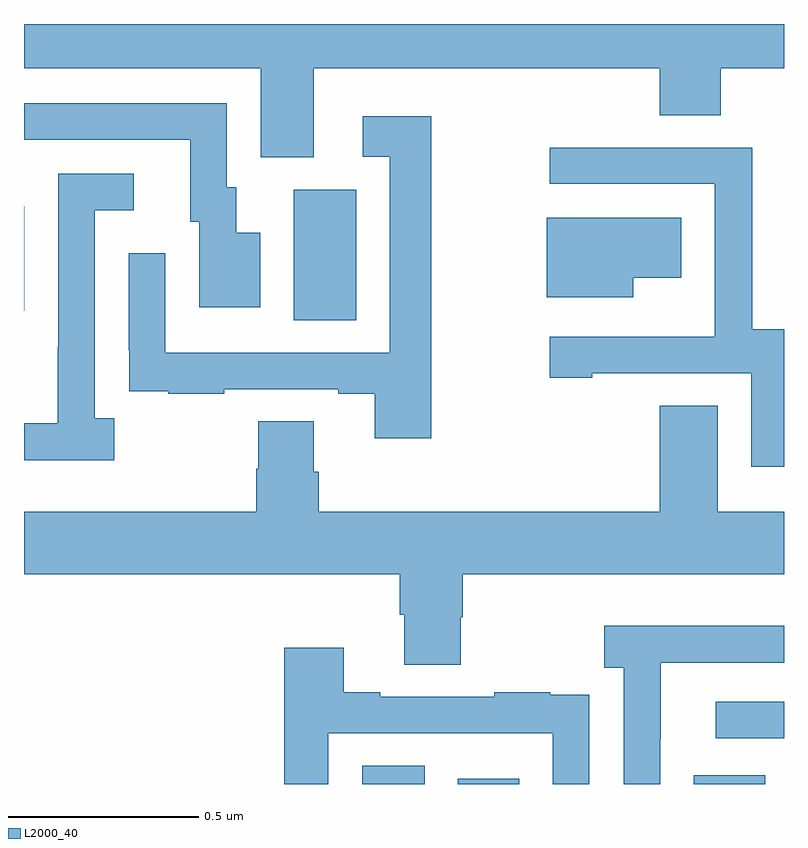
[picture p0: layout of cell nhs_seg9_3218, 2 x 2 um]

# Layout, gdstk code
import gdstk
lib = gdstk.Library(unit=1e-6, precision=1e-09)
def R(c, l, rs):  # rectangles x0, y0, x1, y1
    for r in rs: c.add(gdstk.rectangle(r[:2], r[2:], *l))
def P(c, l, *ps):  # polygons
    for p in ps: c.add(gdstk.Polygon(p, *l))
L2000_40 = (2000, 40)

nhs_seg9_3218 = lib.new_cell('nhs_seg9_3218')
R(nhs_seg9_3218, L2000_40, [(150.89,1230.5,151.054,1230.548), (151.142,1230.5,151.303,1230.514), (151.763,1230.5,151.951,1230.523), (151.821,1230.621,152,1230.717), (150.71,1231.72,150.874,1232.064), (150,1231.745,150.001,1232.02)])
P(nhs_seg9_3218, L2000_40, [(150.763,1232.384),(151.673,1232.384),(151.673,1232.26),(151.833,1232.26),(151.833,1232.384),(152,1232.384),(152,1232.5),(150,1232.5),(150,1232.384),(150.623,1232.384),(150.623,1232.149),(150.763,1232.149)],
  [(150.622,1231.951),(150.559,1231.951),(150.559,1232.07),(150.534,1232.07),(150.534,1232.292),(150,1232.292),(150,1232.196),(150.437,1232.196),(150.437,1231.98),(150.461,1231.98),(150.461,1231.755),(150.622,1231.755)],
  [(151.072,1232.257),(150.891,1232.257),(150.891,1232.151),(150.963,1232.151),(150.963,1231.635),(150.372,1231.635),(150.372,1231.897),(150.276,1231.897),(150.276,1231.642),(150.277,1231.642),(150.277,1231.533),(150.379,1231.533),(150.379,1231.527),(150.527,1231.527),(150.527,1231.539),(150.827,1231.539),(150.827,1231.527),(150.923,1231.527),(150.923,1231.41),(151.072,1231.41)],
  [(152,1231.697),(151.917,1231.697),(151.917,1232.175),(151.383,1232.175),(151.383,1232.079),(151.818,1232.079),(151.818,1231.678),(151.817,1231.678),(151.817,1231.677),(151.383,1231.677),(151.383,1231.569),(151.495,1231.569),(151.495,1231.581),(151.914,1231.581),(151.914,1231.335),(152,1231.335)],
  [(150.238,1231.462),(150.186,1231.462),(150.186,1232.01),(150.289,1232.01),(150.289,1232.106),(150.09,1232.106),(150.09,1231.649),(150.089,1231.649),(150.089,1231.449),(150,1231.449),(150,1231.352),(150.238,1231.352)],
  [(151.603,1231.832),(151.729,1231.832),(151.729,1231.99),(151.376,1231.99),(151.376,1231.781),(151.603,1231.781)],
  [(151.149,1230.939),(151.154,1230.939),(151.154,1231.052),(152,1231.052),(152,1231.216),(151.825,1231.216),(151.825,1231.496),(151.673,1231.496),(151.673,1231.216),(150.776,1231.216),(150.776,1231.322),(150.763,1231.322),(150.763,1231.454),(150.616,1231.454),(150.616,1231.329),(150.611,1231.329),(150.611,1231.216),(150,1231.216),(150,1231.052),(150.989,1231.052),(150.989,1230.946),(151.001,1230.946),(151.001,1230.814),(151.149,1230.814)],
  [(151.674,1230.619),(151.675,1230.619),(151.675,1230.819),(152,1230.819),(152,1230.916),(151.527,1230.916),(151.527,1230.806),(151.578,1230.806),(151.578,1230.5),(151.674,1230.5)],
  [(150.801,1230.633),(151.392,1230.633),(151.392,1230.5),(151.488,1230.5),(151.488,1230.626),(151.487,1230.626),(151.487,1230.735),(151.385,1230.735),(151.385,1230.742),(151.237,1230.742),(151.237,1230.729),(150.937,1230.729),(150.937,1230.742),(150.841,1230.742),(150.841,1230.859),(150.685,1230.859),(150.685,1230.5),(150.801,1230.5)])

lib.write_gds('nhs_seg9_3218.gds')
